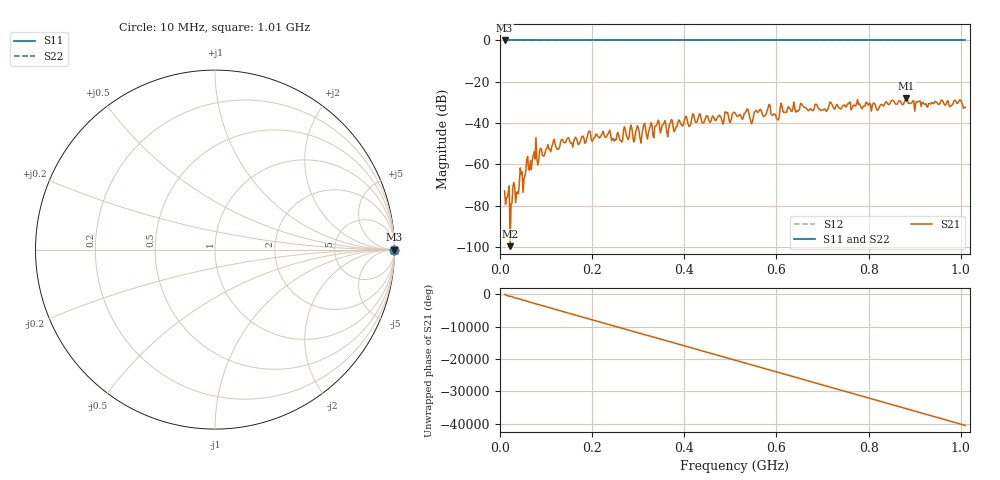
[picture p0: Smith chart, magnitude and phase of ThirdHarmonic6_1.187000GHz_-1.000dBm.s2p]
! 8/16/2025 12:10:36 PM
! C:\ANRITSUVNA\TEMP\TEMP.S2P
! CHANNEL.1
! TR.MEASUREMENT
! RAW.DATA
! RF.CORRECTION.OFF
! AVERAGING.OFF
! IF.BANDWIDTH: 5KHZ
! SWEEPTYPE:  FREQ.SWEEP(Linear)
! Reference Plane Port Info
! PORT:  PORT1  PORT2
! DISTANCE:  0  m  0  m
! TIME:  0  s  0  s
! PHASE.OFFSET:  0  deg.  0  deg.
! LOSS:  0  dB  0  dB
! REF.LOSS:  0  dB  0  dB
! REF.FREQ:  0  Hz  0  Hz
! Power Info
! POWER:  -20  dBm  -20  dBm
! EFF.POWER:  -20  dBm  -20  dBm
! SOURCE.ATTEN:  0  dB  0  dB
! TEST.ATTEN:  0  dB  0  dB
# GHZ S RI R 50.0
! FREQ.GHZ  S11RE  S11IM  S21RE  S21IM  S12RE  S12IM  S22RE  S22IM
!; PortSelection: Port_12
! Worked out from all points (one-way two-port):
!   501 points, 10 MHz to 1.01 GHz, reference 50 ohm
!   highest |S21| = -27.93 dB at 882 MHz (marker M1); lowest = -99.7 dB at 22 MHz (marker M2)
!   lowest |S11| = 0.0 dB at 10 MHz (marker M3)
!   |S11| at or under -10 dB: nowhere
!   |S22| runs from 0.0 to 0.0 dB; largest |S21 - S12| = 1
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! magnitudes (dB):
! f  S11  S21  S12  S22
! 10 MHz  0.0  -72.9  0.0  0.0
! 22 MHz  0.0  -99.7  0.0  0.0
! 38 MHz  0.0  -73.4  0.0  0.0
! 44 MHz  0.0  -61.8  0.0  0.0
! 52 MHz  0.0  -67.1  0.0  0.0
! 74 MHz  0.0  -54.0  0.0  0.0
! 178 MHz  0.0  -46.5  0.0  0.0
! 236 MHz  0.0  -44.7  0.0  0.0
! 262 MHz  0.0  -48.4  0.0  0.0
! 272 MHz  0.0  -43.2  0.0  0.0
! 306 MHz  0.0  -49.8  0.0  0.0
! 344 MHz  0.0  -38.7  0.0  0.0
! 510 MHz  0.0  -35.1  0.0  0.0
! 536 MHz  0.0  -33.2  0.0  0.0
! 546 MHz  0.0  -40.4  0.0  0.0
! 582 MHz  0.0  -32.6  0.0  0.0
! 602 MHz  0.0  -38.3  0.0  0.0
! 612 MHz  0.0  -31.8  0.0  0.0
! 678 MHz  0.0  -33.9  0.0  0.0
! 844 MHz  0.0  -31.2  0.0  0.0
! 882 MHz  0.0  -27.9  0.0  0.0
! 1.01 GHz  0.0  -32.4  0.0  0.0
